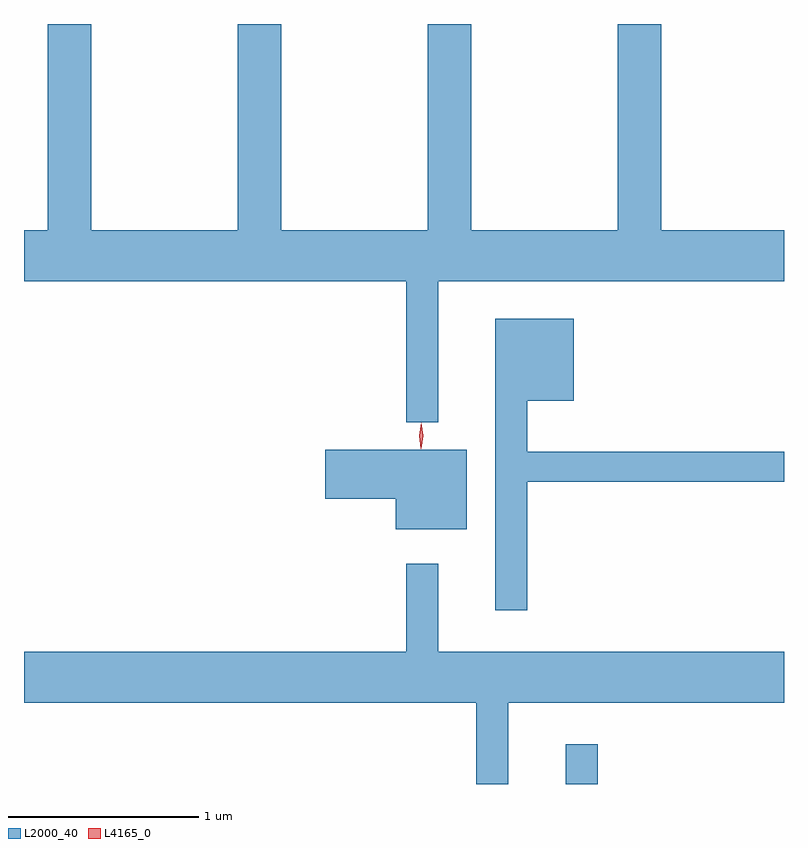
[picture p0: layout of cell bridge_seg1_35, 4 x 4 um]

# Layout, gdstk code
import gdstk
lib = gdstk.Library(unit=1e-6, precision=1e-09)
def R(c, l, rs):  # rectangles x0, y0, x1, y1
    for r in rs: c.add(gdstk.rectangle(r[:2], r[2:], *l))
def P(c, l, *ps):  # polygons
    for p in ps: c.add(gdstk.Polygon(p, *l))
L2000_40 = (2000, 40)
L4165_0 = (4165, 0)

bridge_seg1_35 = lib.new_cell('bridge_seg1_35')
R(bridge_seg1_35, L2000_40, [(1628.851,841.429,1629.019,841.638)])
P(bridge_seg1_35, L2000_40, [(1628.179,844.076),(1630,844.076),(1630,844.344),(1629.354,844.344),(1629.354,845.429),(1629.126,845.429),(1629.126,844.344),(1628.354,844.344),(1628.354,845.429),(1628.126,845.429),(1628.126,844.344),(1627.354,844.344),(1627.354,845.429),(1627.126,845.429),(1627.126,844.344),(1626.354,844.344),(1626.354,845.429),(1626.126,845.429),(1626.126,844.344),(1626,844.344),(1626,844.076),(1628.011,844.076),(1628.011,843.333),(1628.179,843.333)],
  [(1628.649,843.021),(1630,843.021),(1630,843.179),(1628.649,843.179),(1628.649,843.446),(1628.894,843.446),(1628.894,843.879),(1628.481,843.879),(1628.481,842.343),(1628.649,842.343)],
  [(1628.329,843.189),(1627.586,843.189),(1627.586,842.931),(1627.956,842.931),(1627.956,842.771),(1628.329,842.771)],
  [(1628.549,841.856),(1630,841.856),(1630,842.124),(1628.179,842.124),(1628.179,842.588),(1628.011,842.588),(1628.011,842.124),(1626,842.124),(1626,841.856),(1628.381,841.856),(1628.381,841.429),(1628.549,841.429)])
P(bridge_seg1_35, L4165_0, [(1628.09,843.2),(1628.09,843.2),(1628.08,843.263),(1628.09,843.327),(1628.09,843.327),(1628.091,843.327),(1628.1,843.263),(1628.091,843.2)],
  [(1628.089,843.194),(1628.089,843.194),(1628.08,843.262),(1628.091,843.33),(1628.091,843.33),(1628.092,843.33),(1628.1,843.262),(1628.09,843.194)])

lib.write_gds('bridge_seg1_35.gds')
